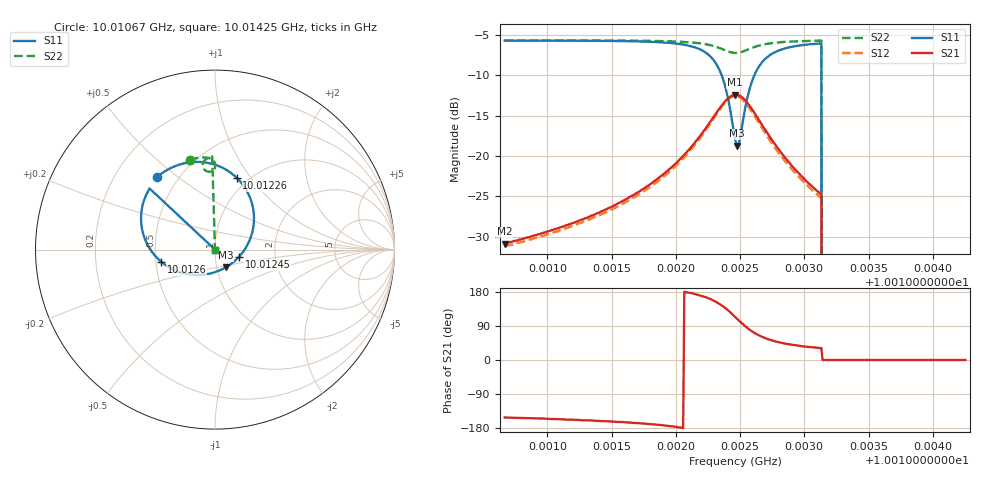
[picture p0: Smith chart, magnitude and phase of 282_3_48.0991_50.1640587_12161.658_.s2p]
#  HZ  S  RI  R  50.00
! Rohde & Schwarz Vector Network Analyzer
! Rohde-Schwarz,ZNB20-2Port,1311601062101988,3.16
! Created: UTC 12/23/2023, 4:02:52 AM
! freq[Hz]  re:S11  im:S11  re:S21  im:S21  re:S12  im:S12  re:S22  im:S22
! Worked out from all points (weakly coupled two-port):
!   401 points, 10.01067 GHz to 10.01425 GHz, reference 50 ohm
!   highest |S21| = -12.41 dB at 10.01246 GHz (marker M1); lowest = -30.9 dB at 10.01067 GHz (marker M2)
!   lowest |S11| = -18.7 dB at 10.01248 GHz (marker M3), VSWR 1.26, Z = 55.1 - j11.1 ohm
!   |S11| at or under -10 dB: 10.01236 GHz to 10.01261 GHz (254.6 kHz wide, 0.00254 % of centre); 10.01313 GHz to end of sweep
!   |S22| runs from - to -5.7 dB; largest |S21 - S12| = 0.012
!   S11 on the Smith chart (normalised r, x): 10.01067 GHz: 0.38, +0.42; 10.01226 GHz: 0.89, +0.86; 10.01245 GHz: 1.30, -0.11; 10.0126 GHz: 0.54, -0.08; 10.01425 GHz: 1.00, +0.00
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1.0010667e10  -0.3256 0.4031  -0.0251 -0.0135  -0.0235 -0.0144  -0.1404 0.5003
1.0011268e10  -0.2681 0.4428  -0.0375 -0.0145  -0.0352 -0.016  -0.0991 0.5101
1.0011869e10  -0.1482 0.4852  -0.0723 -0.0113  -0.069 -0.0147  -0.0499 0.5132
1.0012129e10  -0.0108 0.4764  -0.1154 0.00807  -0.1122 0.00191  -0.0203 0.5045
1.0012263e10  0.1218 0.3992  -0.1527 0.0508  -0.1513 0.0407  -0.00281 0.4871
1.0012326e10  0.1889 0.3038  -0.1655 0.0934  -0.1671 0.0819  0.00177 0.4711
1.0012371e10  0.2164 0.1964  -0.1642 0.1348  -0.1674 0.1241  -0.000448 0.4563
1.0012416e10  0.1976 0.0641  -0.1426 0.1815  -0.1478 0.1726  -0.0104 0.442
1.0012452e10  0.1335 -0.0404  -0.1075 0.2134  -0.1138 0.2054  -0.0242 0.4348
1.0012461e10  0.1121 -0.0615  -0.0975 0.2189  -0.1031 0.2116  -0.0282 0.4341
1.0012479e10  0.0589 -0.0997  -0.0738 0.2274  -0.0805 0.2201  -0.0364 0.4339
1.0012496e10  0.000758 -0.1256  -0.0503 0.2308  -0.0566 0.224  -0.0441 0.4356
1.0012532e10  -0.1168 -0.1409  -0.00573 0.2248  -0.0108 0.218  -0.057 0.4433
1.0012604e10  -0.2989 -0.0684  0.0551 0.1806  0.0474 0.1753  -0.0679 0.4661
1.0012667e10  -0.376 0.0272  0.0743 0.139  0.0671 0.135  -0.0657 0.483
1.0012748e10  -0.4092 0.1302  0.0781 0.0985  0.071 0.0966  -0.0572 0.4974
1.0012882e10  -0.4049 0.2409  0.0682 0.06  0.0624 0.0599  -0.0412 0.5097
1.0013061e10  -0.3762 0.3198  0.054 0.0355  0.0496 0.0363  -0.0223 0.5168
1.0013115e10  -0.3676 0.3357  0.0503 0.0312  0.0466 0.0317  -0.0174 0.5181
1.001316e10  0 0  0 0  0 0  0 0
1.0013662e10  0 0  0 0  0 0  0 0
1.0014254e10  0 0  0 0  0 0  0 0
